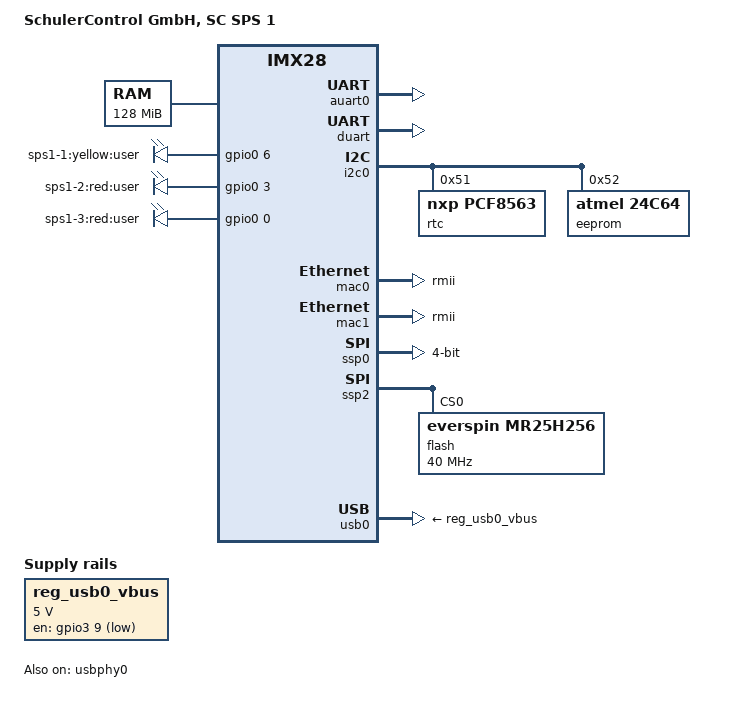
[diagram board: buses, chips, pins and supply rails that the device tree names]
// SPDX-License-Identifier: GPL-2.0-or-later
/*
 * Copyright (C) 2012 Marek Vasut <marex@denx.de>
 */

/dts-v1/;
#include "imx28.dtsi"

/ {
	model = "SchulerControl GmbH, SC SPS 1";
	compatible = "schulercontrol,imx28-sps1", "fsl,imx28";

	memory@40000000 {
		device_type = "memory";
		reg = <0x40000000 0x08000000>;
	};

	regulators {
		compatible = "simple-bus";
		#address-cells = <1>;
		#size-cells = <0>;

		reg_usb0_vbus: regulator@0 {
			compatible = "regulator-fixed";
			reg = <0>;
			regulator-name = "usb0_vbus";
			regulator-min-microvolt = <5000000>;
			regulator-max-microvolt = <5000000>;
			gpio = <&gpio3 9 0>;
		};
	};

	leds {
		#address-cells = <1>;
		#size-cells = <0>;
		compatible = "gpio-leds";
		status = "okay";

		led@1 {
			label = "sps1-1:yellow:user";
			gpios = <&gpio0 6 0>;
			linux,default-trigger = "heartbeat";
			reg = <0>;
		};

		led@2 {
			label = "sps1-2:red:user";
			gpios = <&gpio0 3 0>;
			linux,default-trigger = "heartbeat";
			reg = <1>;
		};

		led@3 {
			label = "sps1-3:red:user";
			gpios = <&gpio0 0 0>;
			default-trigger = "heartbeat";
			reg = <2>;
		};

	};
};

&auart0 {
	pinctrl-names = "default";
	pinctrl-0 = <&auart0_pins_a>;
	status = "okay";
};

&duart {
	pinctrl-names = "default";
	pinctrl-0 = <&duart_pins_a>;
	status = "okay";
};

&i2c0 {
	pinctrl-names = "default";
	pinctrl-0 = <&i2c0_pins_a>;
	status = "okay";

	rtc: rtc@51 {
		compatible = "nxp,pcf8563";
		reg = <0x51>;
	};

	eeprom: eeprom@52 {
		compatible = "atmel,24c64";
		reg = <0x52>;
		pagesize = <32>;
	};
};

&mac0 {
	phy-mode = "rmii";
	pinctrl-names = "default";
	pinctrl-0 = <&mac0_pins_a>;
	status = "okay";
};

&mac1 {
	phy-mode = "rmii";
	pinctrl-names = "default";
	pinctrl-0 = <&mac1_pins_a>;
	status = "okay";
};

&pinctrl {
	pinctrl-names = "default";
	pinctrl-0 = <&hog_pins_a>;

	hog_pins_a: hog-gpios@0 {
		reg = <0>;
		fsl,pinmux-ids = <
			MX28_PAD_GPMI_D00__GPIO_0_0
			MX28_PAD_GPMI_D03__GPIO_0_3
			MX28_PAD_GPMI_D06__GPIO_0_6
		>;
		fsl,drive-strength = <MXS_DRIVE_4mA>;
		fsl,voltage = <MXS_VOLTAGE_HIGH>;
		fsl,pull-up = <MXS_PULL_DISABLE>;
	};
};

&ssp0 {
	compatible = "fsl,imx28-mmc";
	pinctrl-names = "default";
	pinctrl-0 = <&mmc0_4bit_pins_a>;
	bus-width = <4>;
	status = "okay";
};

&ssp2 {
	#address-cells = <1>;
	#size-cells = <0>;
	compatible = "fsl,imx28-spi";
	pinctrl-names = "default";
	pinctrl-0 = <&spi2_pins_a>;
	status = "okay";

	flash: flash@0 {
		#address-cells = <1>;
		#size-cells = <1>;
		compatible = "everspin,mr25h256", "mr25h256";
		spi-max-frequency = <40000000>;
		reg = <0>;
	};
};

&usb0 {
	vbus-supply = <&reg_usb0_vbus>;
	pinctrl-names = "default";
	pinctrl-0 = <&usb0_pins_b>;
	status = "okay";
};

&usbphy0 {
	status = "okay";
};
